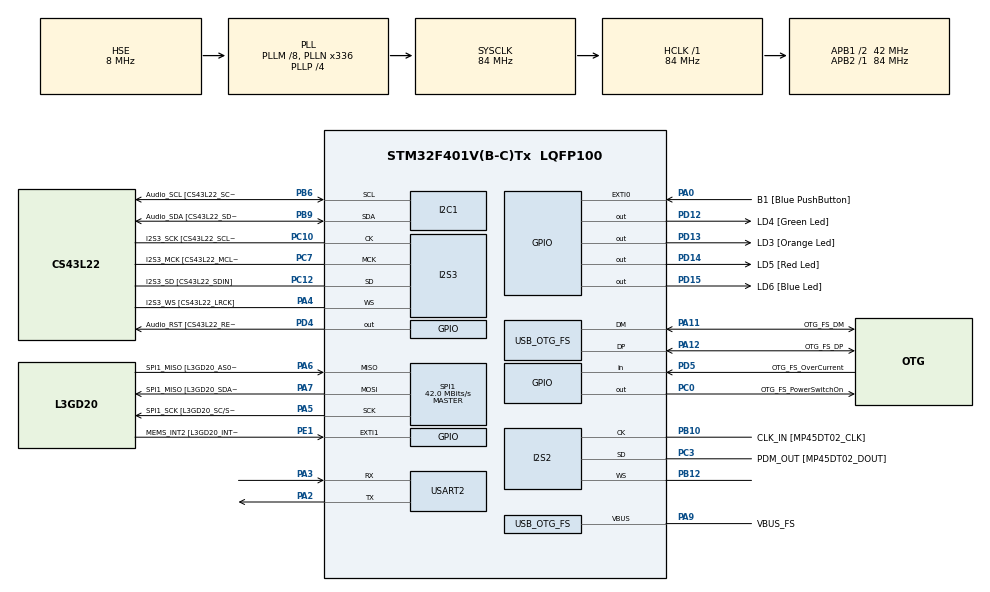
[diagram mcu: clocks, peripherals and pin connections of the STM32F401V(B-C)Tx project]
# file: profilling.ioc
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FREERTOS.Tasks01=orange_button,0,128,blink_orange_button,Default,NULL,Static,orange_buttonBuffer,orange_buttonControlBlock;button,-3,128,button_control,Default,NULL,Dynamic,NULL,NULL;serial_bus,-3,128,serial_communication,Default,NULL,Dynamic,NULL,NULL
FREERTOS.configENABLE_FPU=1
FREERTOS.configUSE_NEWLIB_REENTRANT=1
I2S2.ErrorAudioFreq=0.0 %
I2S2.FullDuplexMode=I2S_FULLDUPLEXMODE_DISABLE
I2S2.Instance=SPI$Index
I2S2.RealAudioFreq=8.0 KHz
I2S2.VirtualMode=I2S_MODE_MASTER
I2S3.AudioFreq=I2S_AUDIOFREQ_96K
I2S3.ErrorAudioFreq=-2.34 %
I2S3.FullDuplexMode=I2S_FULLDUPLEXMODE_DISABLE
I2S3.Instance=SPI$Index
I2S3.RealAudioFreq=93.75 KHz
I2S3.VirtualMode=I2S_MODE_MASTER
Mcu.Family=STM32F4
Mcu.Name=STM32F401V(B-C)Tx
Mcu.Package=LQFP100
NVIC.OTG_FS_IRQn=true\:5\:0\:false\:false\:true\:true\:true\:true
NVIC.PVD_IRQn=true\:5\:0\:false\:false\:true\:true\:true\:true
NVIC.PriorityGroup=NVIC_PRIORITYGROUP_4
NVIC.TIM3_IRQn=true\:15\:0\:false\:false\:true\:false\:false\:true
NVIC.TimeBase=TIM3_IRQn
NVIC.TimeBaseIP=TIM3
PA0-WKUP.GPIO_Label=B1 [Blue PushButton]
PA0-WKUP.GPIO_ModeDefaultEXTI=GPIO_MODE_EVT_RISING
PA0-WKUP.Signal=GPXTI0
PA10.GPIO_Label=OTG_FS_ID
PA10.Signal=USB_OTG_FS_ID
PA11.GPIO_Label=OTG_FS_DM
PA11.Mode=Host_Only
PA11.Signal=USB_OTG_FS_DM
PA12.GPIO_Label=OTG_FS_DP
PA12.Mode=Host_Only
PA12.Signal=USB_OTG_FS_DP
PA13.GPIO_Label=SWDIO
PA13.Mode=Serial_Wire
PA13.Signal=SYS_JTMS-SWDIO
PA14.GPIO_Label=SWCLK
PA14.Mode=Serial_Wire
PA14.Signal=SYS_JTCK-SWCLK
PA2.Mode=Asynchronous
PA2.Signal=USART2_TX
PA3.Mode=Asynchronous
PA3.Signal=USART2_RX
PA4.GPIO_Label=I2S3_WS [CS43L22_LRCK]
PA4.GPIO_Mode=GPIO_MODE_AF_PP
PA4.GPIO_PuPd=GPIO_NOPULL
PA4.GPIO_Speed=GPIO_SPEED_FREQ_LOW
PA4.Mode=Half_Duplex_Master
PA4.Signal=I2S3_WS
PA5.GPIO_Label=SPI1_SCK [L3GD20_SC/SPC]
PA5.Mode=Full_Duplex_Master
PA5.Signal=SPI1_SCK
PA6.GPIO_Label=SPI1_MISO [L3GD20_AS0/SDO]
PA6.Mode=Full_Duplex_Master
PA6.Signal=SPI1_MISO
PA7.GPIO_Label=SPI1_MISO [L3GD20_SDA/SDI/SDO]
PA7.Mode=Full_Duplex_Master
PA7.Signal=SPI1_MOSI
PA9.GPIO_Label=VBUS_FS
PA9.Mode=Activate_VBUS
PA9.Signal=USB_OTG_FS_VBUS
PB10.GPIO_Label=CLK_IN [MP45DT02_CLK]
PB10.Mode=Half_Duplex_Master
PB10.Signal=I2S2_CK
PB12.Mode=Half_Duplex_Master
PB12.Signal=I2S2_WS
PB3.GPIO_Label=SWO
PB3.Signal=SYS_JTDO-SWO
PB6.GPIO_Label=Audio_SCL [CS43L22_SCL]
PB6.GPIO_Mode=GPIO_MODE_AF_OD
PB6.GPIO_Pu=GPIO_PULLUP
PB6.GPIO_PuPd=GPIO_NOPULL
PB6.GPIO_Speed=GPIO_SPEED_FREQ_LOW
PB6.Mode=I2C
PB6.Signal=I2C1_SCL
PB9.GPIO_Label=Audio_SDA [CS43L22_SDA]
PB9.GPIO_Mode=GPIO_MODE_AF_OD
PB9.GPIO_Pu=GPIO_PULLUP
PB9.GPIO_PuPd=GPIO_NOPULL
PB9.GPIO_Speed=GPIO_SPEED_FREQ_LOW
PB9.Mode=I2C
PB9.Signal=I2C1_SDA
PC0.GPIO_Label=OTG_FS_PowerSwitchOn
PC0.PinState=GPIO_PIN_SET
PC0.Signal=GPIO_Output
PC10.GPIO_Label=I2S3_SCK [CS43L22_SCLK]
PC10.GPIO_Mode=GPIO_MODE_AF_PP
PC10.GPIO_PuPd=GPIO_NOPULL
PC10.GPIO_Speed=GPIO_SPEED_FREQ_LOW
PC10.Mode=Half_Duplex_Master
PC10.Signal=I2S3_CK
PC12.GPIO_Label=I2S3_SD [CS43L22_SDIN]
PC12.GPIO_Mode=GPIO_MODE_AF_PP
PC12.GPIO_PuPd=GPIO_NOPULL
PC12.GPIO_Speed=GPIO_SPEED_FREQ_LOW
PC12.Mode=Half_Duplex_Master
PC12.Signal=I2S3_SD
PC14-OSC32_IN.GPIO_Label=PC14-OSC32_IN
PC14-OSC32_IN.Mode=LSE-External-Oscillator
PC14-OSC32_IN.Signal=RCC_OSC32_IN
PC15-OSC32_OUT.GPIO_Label=PC15-OSC32_OUT
PC15-OSC32_OUT.Mode=LSE-External-Oscillator
PC15-OSC32_OUT.Signal=RCC_OSC32_OUT
PC3.GPIO_Label=PDM_OUT [MP45DT02_DOUT]
PC3.Mode=Half_Duplex_Master
PC3.Signal=I2S2_SD
PC7.GPIO_Label=I2S3_MCK [CS43L22_MCLK]
PC7.GPIO_Mode=GPIO_MODE_AF_PP
PC7.GPIO_PuPd=GPIO_NOPULL
PC7.GPIO_Speed=GPIO_SPEED_FREQ_LOW
PC7.Mode=Master_Clock_Activated
PC7.Signal=I2S3_MCK
PD12.GPIO_Label=LD4 [Green Led]
PD12.GPIO_PuPd=GPIO_NOPULL
PD12.GPIO_Speed=GPIO_SPEED_FREQ_LOW
PD12.Signal=GPIO_Output
PD13.GPIO_Label=LD3 [Orange Led]
PD13.GPIO_PuPd=GPIO_NOPULL
PD13.GPIO_Speed=GPIO_SPEED_FREQ_LOW
PD13.Signal=GPIO_Output
PD14.GPIO_Label=LD5 [Red Led]
PD14.GPIO_PuPd=GPIO_NOPULL
PD14.GPIO_Speed=GPIO_SPEED_FREQ_LOW
PD14.Signal=GPIO_Output
PD15.GPIO_Label=LD6 [Blue Led]
PD15.GPIO_PuPd=GPIO_NOPULL
PD15.GPIO_Speed=GPIO_SPEED_FREQ_LOW
PD15.Signal=GPIO_Output
PD4.GPIO_Label=Audio_RST [CS43L22_RESET]
PD4.Signal=GPIO_Output
PD5.GPIO_Label=OTG_FS_OverCurrent
PD5.Signal=GPIO_Input
PE1.GPIO_Label=MEMS_INT2 [L3GD20_INT2]
PE1.GPIO_ModeDefaultEXTI=GPIO_MODE_EVT_RISING
PE1.Signal=GPXTI1
PH0\ -\ OSC_IN.GPIO_Label=PH0-OSC_IN
PH0\ -\ OSC_IN.Mode=HSE-External-Oscillator
PH0\ -\ OSC_IN.Signal=RCC_OSC_IN
PH1\ -\ OSC_OUT.GPIO_Label=PH1-OSC_OUT
PH1\ -\ OSC_OUT.Mode=HSE-External-Oscillator
PH1\ -\ OSC_OUT.Signal=RCC_OSC_OUT
ProjectManager.HeapSize=0x200
ProjectManager.StackSize=0x400
ProjectManager.TargetToolchain=STM32CubeIDE
RCC.AHBFreq_Value=84000000
RCC.APB1CLKDivider=RCC_HCLK_DIV2
RCC.APB1Freq_Value=42000000
RCC.APB1TimFreq_Value=84000000
RCC.APB2Freq_Value=84000000
RCC.APB2TimFreq_Value=84000000
RCC.CortexFreq_Value=84000000
RCC.HCLKFreq_Value=84000000
RCC.HSE_VALUE=8000000
RCC.HSI_VALUE=16000000
RCC.PLLM=8
RCC.PLLN=336
RCC.PLLP=RCC_PLLP_DIV4
RCC.PLLQ=7
RCC.SYSCLKFreq_VALUE=84000000
RCC.SYSCLKSource=RCC_SYSCLKSOURCE_PLLCLK
RCC.VCOOutputFreq_Value=336000000
SPI1.CalculateBaudRate=42.0 MBits/s
SPI1.Direction=SPI_DIRECTION_2LINES
SPI1.Mode=SPI_MODE_MASTER
SPI1.VirtualType=VM_MASTER
USART2.VirtualMode=VM_ASYNC
USB_HOST.BSP.number=1
USB_HOST.USBH_HandleTypeDef=hUsbHostFS
USB_HOST.USBH_USE_OS-CDC_FS=0
USB_HOST.VirtualModeFS=Cdc
USB_HOST0.BSP.STBoard=false
USB_HOST0.BSP.api=Unknown
USB_HOST0.BSP.i2caddr=0
USB_HOST0.BSP.i2creg=0
USB_HOST0.BSP.instance=PC0
USB_HOST0.BSP.ip=GPIO
USB_HOST0.BSP.mode=Output
USB_HOST0.BSP.name=Drive_VBUS_FS
USB_HOST0.BSP.solution=PC0
USB_OTG_FS.VirtualMode=Host_Only
USB_OTG_FS.phy_itface=HCD_PHY_EMBEDDED
VP_FREERTOS_VS_CMSIS_V1.Mode=CMSIS_V1
VP_SYS_VS_tim3.Mode=TIM3
VP_USB_HOST_VS_USB_HOST_CDC_FS.Mode=CDC_FS
board=STM32F401C-DISCO

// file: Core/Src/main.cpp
/* USER CODE BEGIN Header */
/**
 ******************************************************************************
 * @file           : main.c
 * @brief          : Main program body
 ******************************************************************************
 * @attention
 *
 * <h2><center>&copy; Copyright (c) 2022 STMicroelectronics.
 * All rights reserved.</center></h2>
 *
 * This software component is licensed by ST under Ultimate Liberty license
 * SLA0044, the "License"; You may not use this file except in compliance with
 * the License. You may obtain a copy of the License at:
 *                             www.st.com/SLA0044
 *
 ******************************************************************************
 */
/* USER CODE END Header */
#include "main.h"
#include "cmsis_os.h"
#include "usb_host.h"
#include "usb_host.h"

/* USER CODE BEGIN Includes */
#include "GPIO.h"
//#include "measurement.h"
#include "DWT.h"
#include <string.h>
//#include <core_cm4.h>
/* USER CODE END Includes */

I2C_HandleTypeDef hi2c1;

I2S_HandleTypeDef hi2s2;
I2S_HandleTypeDef hi2s3;

SPI_HandleTypeDef hspi1;

UART_HandleTypeDef huart2;

osThreadId orange_buttonHandle;
uint32_t orange_buttonBuffer[128];
osStaticThreadDef_t orange_buttonControlBlock;
osThreadId buttonHandle;
osThreadId serial_busHandle;

void SystemClock_Config(void);
void PeriphCommonClock_Config(void);
static void MX_GPIO_Init(void);
static void MX_I2C1_Init(void);
static void MX_I2S2_Init(void);
static void MX_I2S3_Init(void);
static void MX_SPI1_Init(void);
static void MX_USART2_UART_Init(void);
void blink_orange_button(void const *argument);
void button_control(void const *argument);
void serial_communication(void const *argument);

int main(void)
{

  /* MCU Configuration--------------------------------------------------------*/

  /* Reset of all peripherals, Initializes the Flash interface and the Systick. */
  HAL_Init();

  /* Configure the system clock */
  SystemClock_Config();

  /* Configure the peripherals common clocks */
  PeriphCommonClock_Config();

  /* Initialize all configured peripherals */
  MX_GPIO_Init();
  MX_I2C1_Init();
  MX_I2S2_Init();
  MX_I2S3_Init();
  MX_SPI1_Init();
  MX_USART2_UART_Init();

  /* Create the thread(s) */
  /* definition and creation of orange_button */
  osThreadStaticDef(orange_button, blink_orange_button, osPriorityNormal, 0, 128, orange_buttonBuffer, &orange_buttonControlBlock);
  orange_buttonHandle = osThreadCreate(osThread(orange_button), NULL);

  /* definition and creation of button */
  osThreadDef(button, button_control, osPriorityIdle, 0, 128);
  buttonHandle = osThreadCreate(osThread(button), NULL);

  /* definition and creation of serial_bus */
  osThreadDef(serial_bus, serial_communication, osPriorityIdle, 0, 128);
  serial_busHandle = osThreadCreate(osThread(serial_bus), NULL);

  /* Start scheduler */
  osKernelStart();

  /* We should never get here as control is now taken by the scheduler */
  /* Infinite loop */
  while (1)
  {

  }
}

void SystemClock_Config(void)
{
  RCC_OscInitTypeDef RCC_OscInitStruct = {0};
  RCC_ClkInitTypeDef RCC_ClkInitStruct = {0};

  /** Configure the main internal regulator output voltage
   */
  __HAL_RCC_PWR_CLK_ENABLE();
  __HAL_PWR_VOLTAGESCALING_CONFIG(PWR_REGULATOR_VOLTAGE_SCALE2);
  /** Initializes the RCC Oscillators according to the specified parameters
   * in the RCC_OscInitTypeDef structure.
   */
  RCC_OscInitStruct.OscillatorType = RCC_OSCILLATORTYPE_HSE;
  RCC_OscInitStruct.HSEState = RCC_HSE_ON;
  RCC_OscInitStruct.PLL.PLLState = RCC_PLL_ON;
  RCC_OscInitStruct.PLL.PLLSource = RCC_PLLSOURCE_HSE;
  RCC_OscInitStruct.PLL.PLLM = 8;
  RCC_OscInitStruct.PLL.PLLN = 336;
  RCC_OscInitStruct.PLL.PLLP = RCC_PLLP_DIV4;
  RCC_OscInitStruct.PLL.PLLQ = 7;
  if (HAL_RCC_OscConfig(&RCC_OscInitStruct) != HAL_OK)
  {
    Error_Handler();
  }
  /** Initializes the CPU, AHB and APB buses clocks
   */
  RCC_ClkInitStruct.ClockType = RCC_CLOCKTYPE_HCLK | RCC_CLOCKTYPE_SYSCLK | RCC_CLOCKTYPE_PCLK1 | RCC_CLOCKTYPE_PCLK2;
  RCC_ClkInitStruct.SYSCLKSource = RCC_SYSCLKSOURCE_PLLCLK;
  RCC_ClkInitStruct.AHBCLKDivider = RCC_SYSCLK_DIV1;
  RCC_ClkInitStruct.APB1CLKDivider = RCC_HCLK_DIV2;
  RCC_ClkInitStruct.APB2CLKDivider = RCC_HCLK_DIV1;

  if (HAL_RCC_ClockConfig(&RCC_ClkInitStruct, FLASH_LATENCY_2) != HAL_OK)
  {
    Error_Handler();
  }
}

void PeriphCommonClock_Config(void)
{
  RCC_PeriphCLKInitTypeDef PeriphClkInitStruct = {0};

  /** Initializes the peripherals clock
   */
  PeriphClkInitStruct.PeriphClockSelection = RCC_PERIPHCLK_I2S;
  PeriphClkInitStruct.PLLI2S.PLLI2SN = 192;
  PeriphClkInitStruct.PLLI2S.PLLI2SR = 2;
  if (HAL_RCCEx_PeriphCLKConfig(&PeriphClkInitStruct) != HAL_OK)
  {
    Error_Handler();
  }
}

static void MX_I2C1_Init(void)
{

  hi2c1.Instance = I2C1;
  hi2c1.Init.ClockSpeed = 100000;
  hi2c1.Init.DutyCycle = I2C_DUTYCYCLE_2;
  hi2c1.Init.OwnAddress1 = 0;
  hi2c1.Init.AddressingMode = I2C_ADDRESSINGMODE_7BIT;
  hi2c1.Init.DualAddressMode = I2C_DUALADDRESS_DISABLE;
  hi2c1.Init.OwnAddress2 = 0;
  hi2c1.Init.GeneralCallMode = I2C_GENERALCALL_DISABLE;
  hi2c1.Init.NoStretchMode = I2C_NOSTRETCH_DISABLE;
  if (HAL_I2C_Init(&hi2c1) != HAL_OK)
  {
    Error_Handler();
  }
}

static void MX_I2S2_Init(void)
{

  hi2s2.Instance = SPI2;
  hi2s2.Init.Mode = I2S_MODE_MASTER_TX;
  hi2s2.Init.Standard = I2S_STANDARD_PHILIPS;
  hi2s2.Init.DataFormat = I2S_DATAFORMAT_16B;
  hi2s2.Init.MCLKOutput = I2S_MCLKOUTPUT_DISABLE;
  hi2s2.Init.AudioFreq = I2S_AUDIOFREQ_8K;
  hi2s2.Init.CPOL = I2S_CPOL_LOW;
  hi2s2.Init.ClockSource = I2S_CLOCK_PLL;
  hi2s2.Init.FullDuplexMode = I2S_FULLDUPLEXMODE_DISABLE;
  if (HAL_I2S_Init(&hi2s2) != HAL_OK)
  {
    Error_Handler();
  }
}

static void MX_I2S3_Init(void)
{

  hi2s3.Instance = SPI3;
  hi2s3.Init.Mode = I2S_MODE_MASTER_TX;
  hi2s3.Init.Standard = I2S_STANDARD_PHILIPS;
  hi2s3.Init.DataFormat = I2S_DATAFORMAT_16B;
  hi2s3.Init.MCLKOutput = I2S_MCLKOUTPUT_ENABLE;
  hi2s3.Init.AudioFreq = I2S_AUDIOFREQ_96K;
  hi2s3.Init.CPOL = I2S_CPOL_LOW;
  hi2s3.Init.ClockSource = I2S_CLOCK_PLL;
  hi2s3.Init.FullDuplexMode = I2S_FULLDUPLEXMODE_DISABLE;
  if (HAL_I2S_Init(&hi2s3) != HAL_OK)
  {
    Error_Handler();
  }
}

static void MX_SPI1_Init(void)
{

  /* SPI1 parameter configuration*/
  hspi1.Instance = SPI1;
  hspi1.Init.Mode = SPI_MODE_MASTER;
  hspi1.Init.Direction = SPI_DIRECTION_2LINES;
  hspi1.Init.DataSize = SPI_DATASIZE_8BIT;
  hspi1.Init.CLKPolarity = SPI_POLARITY_LOW;
  hspi1.Init.CLKPhase = SPI_PHASE_1EDGE;
  hspi1.Init.NSS = SPI_NSS_SOFT;
  hspi1.Init.BaudRatePrescaler = SPI_BAUDRATEPRESCALER_2;
  hspi1.Init.FirstBit = SPI_FIRSTBIT_MSB;
  hspi1.Init.TIMode = SPI_TIMODE_DISABLE;
  hspi1.Init.CRCCalculation = SPI_CRCCALCULATION_DISABLE;
  hspi1.Init.CRCPolynomial = 10;
  if (HAL_SPI_Init(&hspi1) != HAL_OK)
  {
    Error_Handler();
  }
}

static void MX_USART2_UART_Init(void)
{

  huart2.Instance = USART2;
  huart2.Init.BaudRate = 115200;
  huart2.Init.WordLength = UART_WORDLENGTH_8B;
  huart2.Init.StopBits = UART_STOPBITS_1;
  huart2.Init.Parity = UART_PARITY_NONE;
  huart2.Init.Mode = UART_MODE_TX_RX;
  huart2.Init.HwFlowCtl = UART_HWCONTROL_NONE;
  huart2.Init.OverSampling = UART_OVERSAMPLING_16;
  if (HAL_UART_Init(&huart2) != HAL_OK)
  {
    Error_Handler();
  }
}

static void MX_GPIO_Init(void)
{
  GPIO_InitTypeDef GPIO_InitStruct = {0};

  /* GPIO Ports Clock Enable */
  __HAL_RCC_GPIOC_CLK_ENABLE();
  __HAL_RCC_GPIOH_CLK_ENABLE();
  __HAL_RCC_GPIOA_CLK_ENABLE();
  __HAL_RCC_GPIOB_CLK_ENABLE();
  __HAL_RCC_GPIOD_CLK_ENABLE();
  __HAL_RCC_GPIOE_CLK_ENABLE();

  /*Configure GPIO pin Output Level */
  HAL_GPIO_WritePin(OTG_FS_PowerSwitchOn_GPIO_Port, OTG_FS_PowerSwitchOn_Pin, GPIO_PIN_SET);

  /*Configure GPIO pin Output Level */
  HAL_GPIO_WritePin(GPIOD, LD4_Pin | LD3_Pin | LD5_Pin | LD6_Pin | Audio_RST_Pin, GPIO_PIN_RESET);

  /*Configure GPIO pin : OTG_FS_PowerSwitchOn_Pin */
  GPIO_InitStruct.Pin = OTG_FS_PowerSwitchOn_Pin;
  GPIO_InitStruct.Mode = GPIO_MODE_OUTPUT_PP;
  GPIO_InitStruct.Pull = GPIO_NOPULL;
  GPIO_InitStruct.Speed = GPIO_SPEED_FREQ_LOW;
  HAL_GPIO_Init(OTG_FS_PowerSwitchOn_GPIO_Port, &GPIO_InitStruct);

  /*Configure GPIO pin : B1_Pin */
  GPIO_InitStruct.Pin = B1_Pin;
  GPIO_InitStruct.Mode = GPIO_MODE_EVT_RISING;
  GPIO_InitStruct.Pull = GPIO_NOPULL;
  HAL_GPIO_Init(B1_GPIO_Port, &GPIO_InitStruct);

  /*Configure GPIO pins : LD4_Pin LD3_Pin LD5_Pin LD6_Pin
                           Audio_RST_Pin */
  GPIO_InitStruct.Pin = LD4_Pin | LD3_Pin | LD5_Pin | LD6_Pin | Audio_RST_Pin;
  GPIO_InitStruct.Mode = GPIO_MODE_OUTPUT_PP;
  GPIO_InitStruct.Pull = GPIO_NOPULL;
  GPIO_InitStruct.Speed = GPIO_SPEED_FREQ_LOW;
  HAL_GPIO_Init(GPIOD, &GPIO_InitStruct);

  /*Configure GPIO pin : OTG_FS_OverCurrent_Pin */
  GPIO_InitStruct.Pin = OTG_FS_OverCurrent_Pin;
  GPIO_InitStruct.Mode = GPIO_MODE_INPUT;
  GPIO_InitStruct.Pull = GPIO_NOPULL;
  HAL_GPIO_Init(OTG_FS_OverCurrent_GPIO_Port, &GPIO_InitStruct);

  /*Configure GPIO pin : MEMS_INT2_Pin */
  GPIO_InitStruct.Pin = MEMS_INT2_Pin;
  GPIO_InitStruct.Mode = GPIO_MODE_EVT_RISING;
  GPIO_InitStruct.Pull = GPIO_NOPULL;
  HAL_GPIO_Init(MEMS_INT2_GPIO_Port, &GPIO_InitStruct);
}

void blink_orange_button(void const *argument)
{
  /* init code for USB_HOST */
  MX_USB_HOST_Init();
  GPIO LED_orange(LD3_GPIO_Port, LD3_Pin);
  /* USER CODE BEGIN 5 */
  /* Infinite loop */
  for (;;)
  {
    LED_orange.toogle(500, 500);
    // osDelay(1);
  }
  /* USER CODE END 5 */
}

void button_control(void const *argument)
{
  /* USER CODE BEGIN button_control */
  GPIO button(B1_GPIO_Port, B1_Pin);
  GPIO LED_green(LD4_GPIO_Port, LD4_Pin);

  bool button_pushed = false;
  /* Infinite loop */
  for (;;)
  {
    button_pushed = button.read();
    if (button_pushed == true)
    {
      // vTaskSuspendAll();
      LED_green.toogle(1000, 1000);
    }
    else
    {
      LED_green.write(GPIO_PIN_RESET);
    }
    osDelay(0.1);
  }
  /* USER CODE END button_control */
}

void serial_communication(void const *argument)
{
  /* USER CODE BEGIN serial_communication */
  GPIO LED_blue(LD6_GPIO_Port, LD6_Pin);
  dwt sample;
  char txData[20] = "Hello World \r\n";
  /* Infinite loop */
  for (;;)
  {

    sample.start();
    for (int i = 0; i < 500; i++);
    HAL_UART_Transmit(&huart2, (uint8_t *)txData, strlen(txData), 10);
    LED_blue.toogle();
    osDelay(500);
    sample.stop();

  }
  /* USER CODE END serial_communication */
}

void HAL_TIM_PeriodElapsedCallback(TIM_HandleTypeDef *htim)
{
  if (htim->Instance == TIM3)
  {
    HAL_IncTick();
  }
}

void Error_Handler(void)
{
  __disable_irq();
  while (1)
  {
  }
}

/************************ (C) COPYRIGHT STMicroelectronics *****END OF FILE****/
